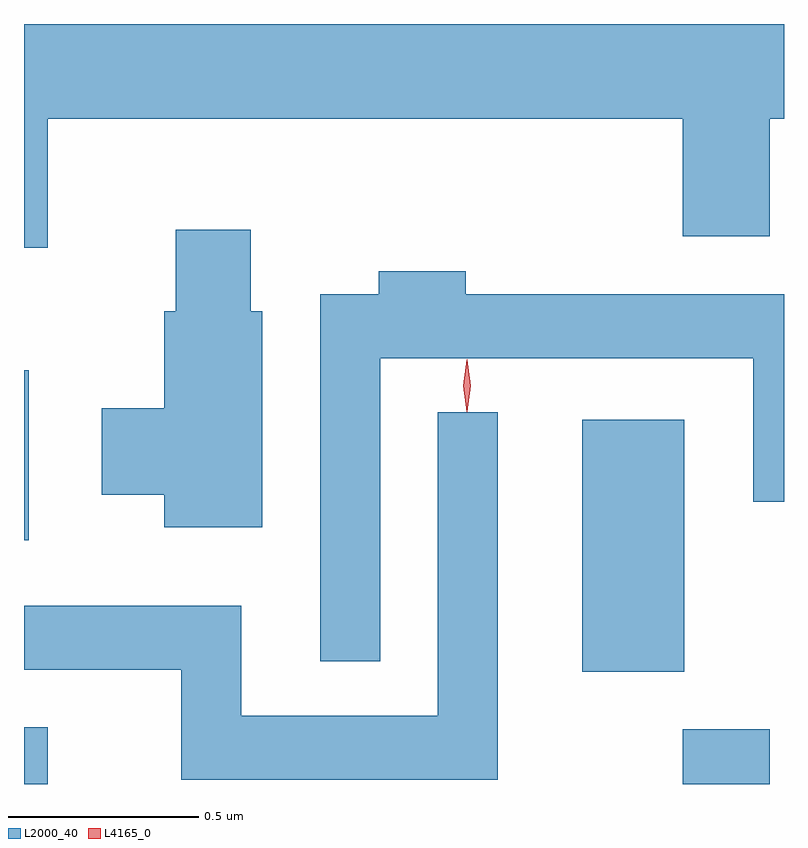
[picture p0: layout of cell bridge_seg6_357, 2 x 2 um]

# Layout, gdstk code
import gdstk
lib = gdstk.Library(unit=1e-6, precision=1e-09)
def R(c, l, rs):  # rectangles x0, y0, x1, y1
    for r in rs: c.add(gdstk.rectangle(r[:2], r[2:], *l))
def P(c, l, *ps):  # polygons
    for p in ps: c.add(gdstk.Polygon(p, *l))
L2000_40 = (2000, 40)
L4165_0 = (4165, 0)

bridge_seg6_357 = lib.new_cell('bridge_seg6_357')
R(bridge_seg6_357, L2000_40, [(1266.807,1546.065,1266.869,1546.214), (1268.541,1546.065,1268.769,1546.209), (1268.276,1546.361,1268.544,1547.024), (1266.807,1546.706,1266.819,1547.154)])
P(bridge_seg6_357, L2000_40, [(1266.869,1547.816),(1268.541,1547.816),(1268.541,1547.506),(1268.769,1547.506),(1268.769,1547.816),(1268.807,1547.816),(1268.807,1548.065),(1266.807,1548.065),(1266.807,1547.476),(1266.869,1547.476)],
  [(1267.434,1547.309),(1267.404,1547.309),(1267.404,1547.524),(1267.206,1547.524),(1267.206,1547.309),(1267.176,1547.309),(1267.176,1547.054),(1267.011,1547.054),(1267.011,1546.826),(1267.176,1546.826),(1267.176,1546.741),(1267.434,1546.741)],
  [(1267.744,1547.186),(1268.726,1547.186),(1268.726,1546.808),(1268.807,1546.808),(1268.807,1547.354),(1267.969,1547.354),(1267.969,1547.414),(1267.741,1547.414),(1267.741,1547.354),(1267.586,1547.354),(1267.586,1546.388),(1267.744,1546.388)],
  [(1268.054,1547.043),(1267.896,1547.043),(1267.896,1546.244),(1267.379,1546.244),(1267.379,1546.534),(1266.807,1546.534),(1266.807,1546.366),(1267.221,1546.366),(1267.221,1546.076),(1268.054,1546.076)])
P(bridge_seg6_357, L4165_0, [(1267.973,1547.043),(1267.972,1547.044),(1267.963,1547.113),(1267.972,1547.182),(1267.973,1547.183),(1267.974,1547.182),(1267.983,1547.113),(1267.974,1547.044)])

lib.write_gds('bridge_seg6_357.gds')
